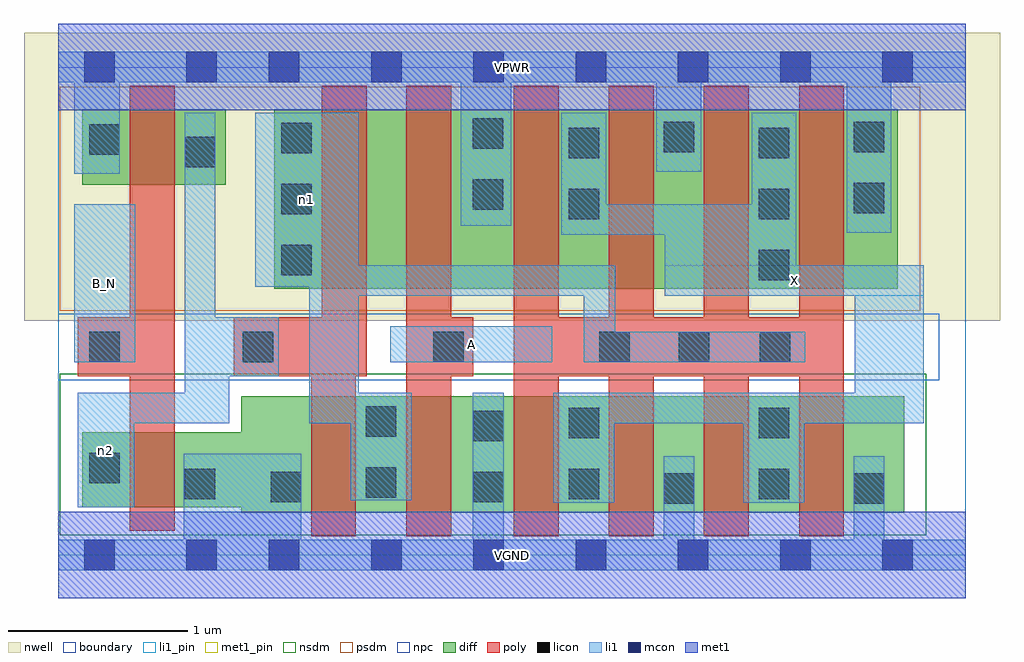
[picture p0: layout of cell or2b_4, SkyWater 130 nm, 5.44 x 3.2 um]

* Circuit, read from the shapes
.subckt or2b_4 A B_N VGND VPWR X n1 n2
XM1 VGND B_N n2 VSUBS sky130_fd_pr__nfet_01v8 w=0.42 l=0.25
XM2 n1 n2 VGND VSUBS sky130_fd_pr__nfet_01v8 w=0.65 l=0.25
XM3 VGND A n1 VSUBS sky130_fd_pr__nfet_01v8 w=0.65 l=0.25
XM4 X n1 VGND VSUBS sky130_fd_pr__nfet_01v8 w=0.65 l=0.25 m=4
XM5 n2 B_N VPWR n3 sky130_fd_pr__pfet_01v8 w=0.42 l=0.25
XM6 n4 n2 n1 n3 sky130_fd_pr__pfet_01v8 w=1 l=0.25
XM7 VPWR A n4 n3 sky130_fd_pr__pfet_01v8 w=1 l=0.25
XM8 X n1 VPWR n3 sky130_fd_pr__pfet_01v8 w=1 l=0.25 m=4
.ends

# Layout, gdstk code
import gdstk
lib = gdstk.Library(unit=1e-6, precision=1e-09)
def R(c, l, rs):  # rectangles x0, y0, x1, y1
    for r in rs: c.add(gdstk.rectangle(r[:2], r[2:], *l))
def A(c, l, x, y, w, h, nx, ny, dx, dy):  # array of equal rectangles
    R(c, l, [(x+i*dx, y+j*dy, x+i*dx+w, y+j*dy+h) for i in range(nx) for j in range(ny)])
nwell = (64, 20)
diff = (65, 20)
poly = (66, 20)
licon = (66, 44)
li1_pin = (67, 16)
li1 = (67, 20)
mcon = (67, 44)
met1_pin = (68, 16)
met1 = (68, 20)
nsdm = (93, 44)
psdm = (94, 20)
npc = (95, 20)
boundary = (235, 4)

or2b_4 = lib.new_cell('or2b_4')
R(or2b_4, nwell, [(-0.19,1.305,5.25,2.91), (0,1.305,5.06,2.91)])
R(or2b_4, diff, [(1.02,0.235,4.715,0.885), (0.135,0.265,4.715,0.685), (1.205,1.485,4.68,2.485), (0.135,2.065,0.935,2.485)])
A(or2b_4, poly, 2.54, 0.105, 0.25, 2.51, 4, 1, 0.53, 0)
R(or2b_4, poly, [(1.41,0.105,1.66,1.325), (1.94,0.105,2.19,2.615), (0.4,0.135,0.65,2.615), (0.11,0.995,0.65,1.325), (0.98,0.995,1.72,1.325), (1.47,0.995,1.72,2.615), (1.94,0.995,2.315,1.325), (2.54,0.995,4.38,1.325)])
A(or2b_4, licon, 3.905, 1.53, 0.17, 0.17, 1, 3, 0, 0.34)
A(or2b_4, licon, 1.245, 1.56, 0.17, 0.17, 1, 3, 0, 0.34)
R(or2b_4, licon, [(3.375,0.285,3.545,0.455), (4.435,0.285,4.605,0.455), (1.185,0.295,1.355,0.465), (2.315,0.295,2.485,0.465), (0.705,0.31,0.875,0.48), (2.845,0.31,3.015,0.48), (3.905,0.31,4.075,0.48), (1.715,0.32,1.885,0.49), (0.175,0.4,0.345,0.57), (2.315,0.635,2.485,0.805), (2.845,0.65,3.015,0.82), (3.905,0.65,4.075,0.82), (1.715,0.66,1.885,0.83), (0.175,1.075,0.345,1.245), (1.03,1.075,1.2,1.245), (2.09,1.075,2.26,1.245), (3.015,1.075,3.185,1.245), (3.46,1.075,3.63,1.245), (3.91,1.075,4.08,1.245), (2.845,1.87,3.015,2.04), (4.435,1.905,4.605,2.075), (2.31,1.925,2.48,2.095), (0.705,2.16,0.875,2.33), (2.845,2.21,3.015,2.38), (0.175,2.23,0.345,2.4), (3.375,2.245,3.545,2.415), (4.435,2.245,4.605,2.415), (2.31,2.265,2.48,2.435)])
R(or2b_4, li1_pin, [(0.09,1.075,0.43,1.955), (1.85,1.075,2.755,1.275), (3.38,1.445,4.825,1.615)])
R(or2b_4, li1, [(0,-0.085,5.06,0.085), (0.7,-0.085,1.355,0.565), (2.31,-0.085,2.485,0.905), (3.375,-0.085,3.545,0.55), (4.435,-0.085,4.605,0.55), (0.11,0.265,0.425,0.905), (2.76,0.29,3.1,0.905), (3.82,0.29,4.16,0.905), (1.63,0.305,1.97,0.905), (0.11,0.735,0.955,0.905), (0.705,0.735,0.875,2.465), (0.705,0.735,0.955,1.325), (1.4,0.735,1.675,2.465), (2.76,0.735,4.825,0.905), (4.44,0.735,4.825,1.615), (0.705,0.995,1.23,1.325), (0.09,1.075,0.43,1.955), (1.85,1.075,2.755,1.275), (2.93,1.075,4.165,1.245), (2.93,1.075,3.105,1.615), (1.4,1.445,3.105,1.615), (3.38,1.445,3.865,1.955), (3.38,1.445,4.825,1.615), (3.865,1.445,4.115,2.465), (1.1,1.495,1.675,2.465), (2.805,1.785,3.055,2.465), (2.805,1.785,4.115,1.955), (4.395,1.795,4.645,2.805), (2.245,1.835,2.525,2.805), (0.09,2.125,0.345,2.805), (3.335,2.135,3.585,2.805), (0,2.635,5.06,2.805)])
A(or2b_4, mcon, 1.175, -0.085, 0.17, 0.17, 7, 2, 0.57, 2.72)
R(or2b_4, mcon, [(0.145,-0.085,0.315,0.085), (0.715,-0.085,0.885,0.085), (0.145,2.635,0.315,2.805), (0.715,2.635,0.885,2.805)])
R(or2b_4, met1_pin, [(0,-0.24,5.06,0.24), (0,2.48,5.06,2.96)])
R(or2b_4, met1, [(0,-0.24,5.06,0.24), (0,2.48,5.06,2.96)])
R(or2b_4, nsdm, [(0.01,0.11,4.84,1.01)])
R(or2b_4, psdm, [(0.01,1.36,4.805,2.61)])
R(or2b_4, npc, [(0,0.975,4.91,1.345)])
R(or2b_4, boundary, [(0,0,5.06,2.72)])
or2b_4.add(gdstk.Label('A', (2.302,1.175), layer=67, texttype=5))
or2b_4.add(gdstk.Label('B_N', (0.26,1.515), layer=67, texttype=5))
or2b_4.add(gdstk.Label('X', (4.102,1.53), layer=67, texttype=5))
or2b_4.add(gdstk.Label('n2', (0.267,0.585), layer=67, texttype=5))
or2b_4.add(gdstk.Label('n1', (1.387,1.98), layer=67, texttype=5))
or2b_4.add(gdstk.Label('VPWR', (2.53,2.72), layer=68, texttype=5))
or2b_4.add(gdstk.Label('VGND', (2.53,0), layer=68, texttype=5))
or2b_4.add(gdstk.Label('A', (2.302,1.175), layer=67, texttype=16))
or2b_4.add(gdstk.Label('B_N', (0.26,1.515), layer=67, texttype=16))
or2b_4.add(gdstk.Label('X', (4.102,1.53), layer=67, texttype=16))
or2b_4.add(gdstk.Label('VPWR', (2.53,2.72), layer=68, texttype=16))
or2b_4.add(gdstk.Label('VGND', (2.53,0), layer=68, texttype=16))

lib.write_gds('or2b_4.gds')
